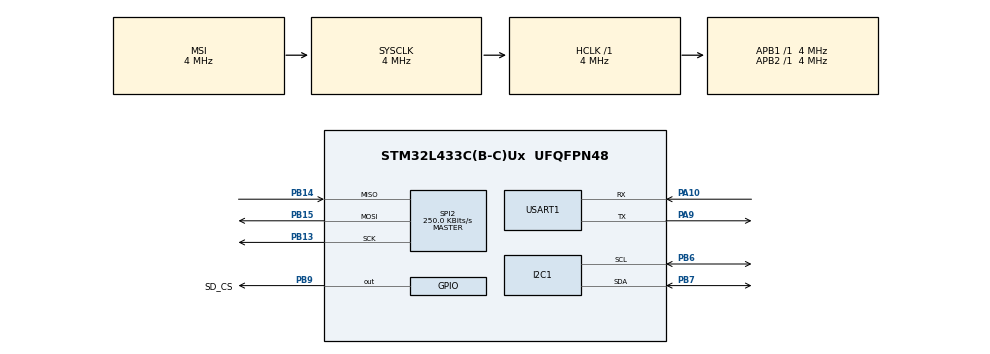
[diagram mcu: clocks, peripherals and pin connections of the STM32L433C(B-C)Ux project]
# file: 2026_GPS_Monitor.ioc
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ADC1.Channel-0\#ChannelRegularConversion=ADC_CHANNEL_VREFINT
ADC1.NbrOfConversion=1
ADC1.NbrOfConversionFlag=1
ADC1.OffsetNumber-0\#ChannelRegularConversion=ADC_OFFSET_NONE
ADC1.OversamplingMode=DISABLE
ADC1.Rank-0\#ChannelRegularConversion=1
ADC1.SamplingTime-0\#ChannelRegularConversion=ADC_SAMPLETIME_247CYCLES_5
ADC1.master=1
FATFS._USE_LABEL=1
FATFS._USE_LFN=3
I2C1.Timing=0x00100D14
Mcu.Family=STM32L4
Mcu.Name=STM32L433C(B-C)Ux
Mcu.Package=UFQFPN48
NVIC.PriorityGroup=NVIC_PRIORITYGROUP_4
PA10.Mode=Asynchronous
PA10.Signal=USART1_RX
PA9.Mode=Asynchronous
PA9.Signal=USART1_TX
PB13.GPIO_PuPd=GPIO_PULLUP
PB13.Mode=Full_Duplex_Master
PB13.Signal=SPI2_SCK
PB14.GPIO_PuPd=GPIO_NOPULL
PB14.Mode=Full_Duplex_Master
PB14.Signal=SPI2_MISO
PB15.GPIO_PuPd=GPIO_PULLUP
PB15.Mode=Full_Duplex_Master
PB15.Signal=SPI2_MOSI
PB6.Mode=I2C
PB6.Signal=I2C1_SCL
PB7.Mode=I2C
PB7.Signal=I2C1_SDA
PB9.GPIO_Label=SD_CS
PB9.GPIO_PuPd=GPIO_PULLUP
PB9.GPIO_Speed=GPIO_SPEED_FREQ_VERY_HIGH
PB9.PinState=GPIO_PIN_SET
PB9.Signal=GPIO_Output
ProjectManager.HeapSize=0x200
ProjectManager.StackSize=0x400
ProjectManager.TargetToolchain=CMake
RCC.ADCFreq_Value=32000000
RCC.AHBFreq_Value=4000000
RCC.APB1Freq_Value=4000000
RCC.APB1TimFreq_Value=4000000
RCC.APB2Freq_Value=4000000
RCC.APB2TimFreq_Value=4000000
RCC.CortexFreq_Value=4000000
RCC.HCLKFreq_Value=4000000
RCC.HSE_VALUE=8000000
RCC.HSI48_VALUE=48000000
RCC.HSI_VALUE=16000000
RCC.LSE_VALUE=32768
RCC.MSI_VALUE=4000000
RCC.PLLSAI1N=16
RCC.SYSCLKFreq_VALUE=4000000
RCC.USBFreq_Value=32000000
RCC.VCOOutputFreq_Value=32000000
RTC.WakeUpClock-WakeUp=RTC_WAKEUPCLOCK_CK_SPRE_16BITS
SPI2.BaudRatePrescaler=SPI_BAUDRATEPRESCALER_16
SPI2.CalculateBaudRate=250.0 KBits/s
SPI2.DataSize=SPI_DATASIZE_8BIT
SPI2.Direction=SPI_DIRECTION_2LINES
SPI2.Mode=SPI_MODE_MASTER
SPI2.VirtualType=VM_MASTER
USART1.VirtualMode-Asynchronous=VM_ASYNC
VP_ADC1_Vref_Input.Mode=IN-Vrefint
VP_FATFS_VS_Generic.Mode=User_defined
VP_RTC_VS_RTC_Activate.Mode=RTC_Enabled
VP_RTC_VS_RTC_WakeUp_intern.Mode=WakeUp
board=custom

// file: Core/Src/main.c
/* USER CODE BEGIN Header */
/**
 ******************************************************************************
 * @file           : main.c
 * @brief          : Main program body
 ******************************************************************************
 * @attention
 *
 * Copyright (c) 2026 STMicroelectronics.
 * All rights reserved.
 *
 * This software is licensed under terms that can be found in the LICENSE file
 * in the root directory of this software component.
 * If no LICENSE file comes with this software, it is provided AS-IS.
 *
 ******************************************************************************
 */
/* USER CODE END Header */
#include "main.h"
#include "adc.h"
#include "fatfs.h"
#include "gpio.h"
#include "i2c.h"
#include "rtc.h"
#include "spi.h"
#include "usart.h"

/* USER CODE BEGIN Includes */
#include "app.hpp"
#include "logger.h"
#include "measure.h"
#include "notecard.h"
#include "sdcard.h"
#include <stdio.h>
/* USER CODE END Includes */

void SystemClock_Config(void);

int main(void)
{

    /* USER CODE BEGIN 1 */

    // printf(RESET); /* Clear any previous formatting */

    /* USER CODE END 1 */

    /* MCU Configuration--------------------------------------------------------*/

    /* Reset of all peripherals, Initializes the Flash interface and the Systick. */
    HAL_Init();

    /* Configure the system clock */
    SystemClock_Config();

    /* Initialize all configured peripherals */
    MX_GPIO_Init();
    MX_I2C1_Init();
    MX_USART1_UART_Init();
    MX_ADC1_Init();
    MX_SPI2_Init();
    MX_FATFS_Init();
    MX_RTC_Init();
    /* USER CODE BEGIN 2 */

#ifndef DEBUG
    HAL_UART_DeInit(&huart1);
#endif
    // printf(BRIGHT_CYAN BOLD "Application started." RESET "\r\n");

#if 0
    Notecard_Init();
    Notecard_Configure();

    Measure_TestSend();
#endif

    App_Init();
    App_Run();

    // uint8_t result = 0;

    // result = SDCard_Mount();

    /* USER CODE END 2 */

    /* Infinite loop */
    while (1)
    {

        /* USER CODE BEGIN 3 */
        // if (result != 0)
        //     continue;
    }
    /* USER CODE END 3 */
}

void SystemClock_Config(void)
{
    RCC_OscInitTypeDef RCC_OscInitStruct = {0};
    RCC_ClkInitTypeDef RCC_ClkInitStruct = {0};

    /** Configure the main internal regulator output voltage
     */
    if (HAL_PWREx_ControlVoltageScaling(PWR_REGULATOR_VOLTAGE_SCALE1) != HAL_OK)
    {
        Error_Handler();
    }

    /** Initializes the RCC Oscillators according to the specified parameters
     * in the RCC_OscInitTypeDef structure.
     */
    RCC_OscInitStruct.OscillatorType      = RCC_OSCILLATORTYPE_LSI | RCC_OSCILLATORTYPE_MSI;
    RCC_OscInitStruct.LSIState            = RCC_LSI_ON;
    RCC_OscInitStruct.MSIState            = RCC_MSI_ON;
    RCC_OscInitStruct.MSICalibrationValue = 0;
    RCC_OscInitStruct.MSIClockRange       = RCC_MSIRANGE_6;
    RCC_OscInitStruct.PLL.PLLState        = RCC_PLL_NONE;
    if (HAL_RCC_OscConfig(&RCC_OscInitStruct) != HAL_OK)
    {
        Error_Handler();
    }

    /** Initializes the CPU, AHB and APB buses clocks
     */
    RCC_ClkInitStruct.ClockType =
        RCC_CLOCKTYPE_HCLK | RCC_CLOCKTYPE_SYSCLK | RCC_CLOCKTYPE_PCLK1 | RCC_CLOCKTYPE_PCLK2;
    RCC_ClkInitStruct.SYSCLKSource   = RCC_SYSCLKSOURCE_MSI;
    RCC_ClkInitStruct.AHBCLKDivider  = RCC_SYSCLK_DIV1;
    RCC_ClkInitStruct.APB1CLKDivider = RCC_HCLK_DIV1;
    RCC_ClkInitStruct.APB2CLKDivider = RCC_HCLK_DIV1;

    if (HAL_RCC_ClockConfig(&RCC_ClkInitStruct, FLASH_LATENCY_0) != HAL_OK)
    {
        Error_Handler();
    }
}

void Error_Handler(void)
{
    __disable_irq();
    while (1)
    {
    }
}
